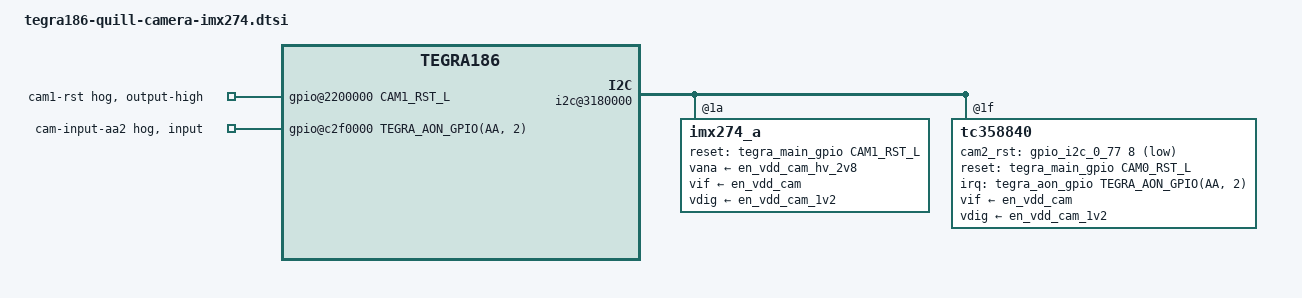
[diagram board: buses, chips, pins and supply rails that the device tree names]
/*
 * Copyright (c) 2015-2016, NVIDIA CORPORATION.  All rights reserved.
 *
 * This program is free software; you can redistribute it and/or modify
 * it under the terms of the GNU General Public License as published by
 * the Free Software Foundation; either version 2 of the License, or
 * (at your option) any later version.
 *
 * This program is distributed in the hope that it will be useful, but WITHOUT
 * ANY WARRANTY; without even the implied warranty of MERCHANTABILITY or
 * FITNESS FOR A PARTICULAR PURPOSE.  See the GNU General Public License for
 * more details.
 *
 * You should have received a copy of the GNU General Public License
 * along with this program.  If not, see <http://www.gnu.org/licenses/>.
 */

#include <quill-modules/tegra186-camera-imx274.dtsi>
#include "dt-bindings/clock/tegra186-clock.h"

#define CAM1_RST_L	TEGRA_MAIN_GPIO(R, 1)
#define CAM0_RST_L	TEGRA_MAIN_GPIO(R, 5)

/* camera control gpio definitions */

/ {
	i2c@3180000 {
		imx274_a@1a {
			/* Define any required hw resources needed by driver */
			/* ie. clocks, io pins, power sources */
			clocks = <&tegra_car TEGRA186_CLK_EXTPERIPH2>,
					 <&tegra_car TEGRA186_CLK_PLLP_OUT0>;
			clock-names = "extperiph2", "pllp_grtba";
			mclk = "extperiph2";
			status = "okay";
			reset-gpios = <&tegra_main_gpio CAM1_RST_L GPIO_ACTIVE_HIGH>;   //also for VCM_2V8 en
			vana-supply = <&en_vdd_cam_hv_2v8>;
			vif-supply = <&en_vdd_cam>;
			vdig-supply = <&en_vdd_cam_1v2>;
		};
		tc358840@1f {
			single-source-max-width = "1920";
			mclk = "extperiph2";
			cam2_rst   = <&gpio_i2c_0_77 8 1>;
			vif-supply = <&en_vdd_cam>;
			vdig-supply = <&en_vdd_cam_1v2>;
			reset-gpios = <&tegra_main_gpio CAM0_RST_L GPIO_ACTIVE_HIGH>;
			interrupt-parent = <&tegra_aon_gpio>;
			interrupts = <TEGRA_AON_GPIO(AA, 2) GPIO_ACTIVE_HIGH>;

			refclk_hz = <40000000>; /* 40 - 50 MHz */

			ddc5v_delay = <1>;        /* 50 ms */

			/* HDCP */
			/* TODO: Not yet implemented */
			enable_hdcp = <0>;

			/* CSI Output */
			csi_port = <3>;            /* Enable TX0 and TX1 */

			lineinitcnt = <0x00000FA0>;
			lptxtimecnt = <0x00000004>;
			tclk_headercnt = <0x00180203>;
			tclk_trailcnt = <0x00040005>;
			ths_headercnt = <0x000D0004>;
			twakeup = <0x00003E80>;
			tclk_postcnt = <0x0000000A>;
			ths_trailcnt = <0x00080006>;
			hstxvregcnt = <0x00000020>;
			btacnt = <0>;

			/* PLL */
			/* Bps per lane is (refclk_hz / pll_prd) * pll_fbd */
			pll_prd = <10>;
			pll_fbd = <230>;
			pll_frs = <0>;
		};
	};

	gpio@2200000 {
		camera-control-output-high {
			gpio-hog;
			gpios = <CAM1_RST_L 0>;
			output-high;
			label = "cam1-rst";
		};
	};

	gpio@c2f0000 {
		camera-control-input {
			gpio-hog;
			gpios = <TEGRA_AON_GPIO(AA, 2) 0>;
			input;
			label = "cam-input-aa2";
			status = "okay";
		};
	};

};
